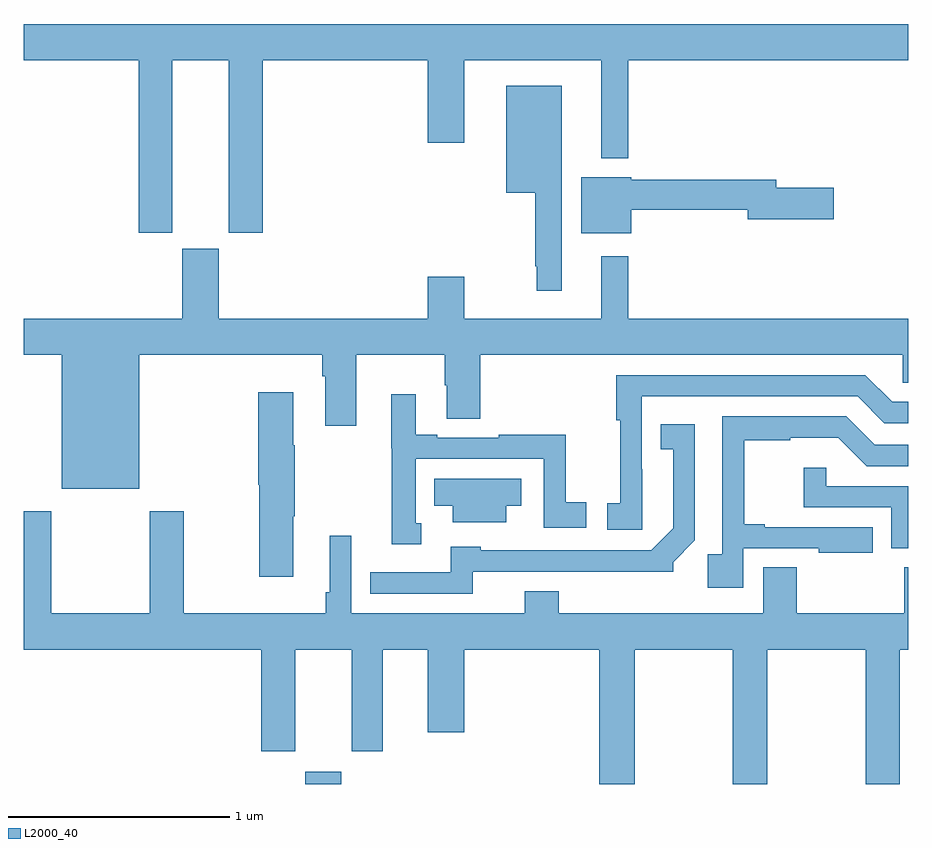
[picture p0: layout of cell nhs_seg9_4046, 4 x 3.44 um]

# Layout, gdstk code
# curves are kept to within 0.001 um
import gdstk
lib = gdstk.Library(unit=1e-6, precision=1e-09)
def R(c, l, rs):  # rectangles x0, y0, x1, y1
    for r in rs: c.add(gdstk.rectangle(r[:2], r[2:], *l))
def P(c, l, *ps):  # polygons
    for p in ps: c.add(gdstk.Polygon(p, *l))
L2000_40 = (2000, 40)

nhs_seg9_4046 = lib.new_cell('nhs_seg9_4046')
R(nhs_seg9_4046, L2000_40, [(344.273,1174.5,344.437,1174.555)])
P(nhs_seg9_4046, L2000_40, [(343.672,1177.772),(343.928,1177.772),(343.928,1176.993),(344.081,1176.993),(344.081,1177.772),(344.828,1177.772),(344.828,1177.398),(344.992,1177.398),(344.992,1177.772),(345.611,1177.772),(345.611,1177.328),(345.733,1177.328),(345.733,1177.772),(347,1177.772),(347,1177.936),(343,1177.936),(343,1177.772),(343.52,1177.772),(343.52,1176.993),(343.672,1176.993)],
  [(345.433,1177.657),(345.182,1177.657),(345.182,1177.172),(345.312,1177.172),(345.312,1176.841),(345.319,1176.841),(345.319,1176.729),(345.433,1176.729)],
  [(345.748,1177.096),(346.274,1177.096),(346.274,1177.054),(346.663,1177.054),(346.663,1177.196),(346.402,1177.196),(346.402,1177.232),(345.748,1177.232),(345.748,1177.243),(345.521,1177.243),(345.521,1176.989),(345.748,1176.989)],
  [(343.882,1176.921),(343.718,1176.921),(343.718,1176.604),(343,1176.604),(343,1176.44),(343.172,1176.44),(343.172,1175.834),(343.522,1175.834),(343.522,1176.44),(344.351,1176.44),(344.351,1176.344),(344.363,1176.344),(344.363,1176.12),(344.503,1176.12),(344.503,1176.44),(344.905,1176.44),(344.905,1176.302),(344.912,1176.302),(344.912,1176.151),(345.065,1176.151),(345.065,1176.44),(346.974,1176.44),(346.974,1176.313),(347,1176.313),(347,1176.604),(345.733,1176.604),(345.733,1176.886),(345.611,1176.886),(345.611,1176.604),(344.992,1176.604),(344.992,1176.793),(344.828,1176.793),(344.828,1176.604),(343.882,1176.604)],
  [(345.796,1175.924),(345.795,1176.252),(346.77,1176.252),(346.89,1176.132),(347,1176.132),(347,1176.228),(346.926,1176.228),(346.806,1176.348),(345.679,1176.348),(345.679,1176.145),(345.697,1176.145),(345.697,1175.769),(345.639,1175.769),(345.639,1175.649),(345.796,1175.649)],
  [(344.218,1175.71),(344.226,1175.71),(344.226,1176.032),(344.218,1176.032),(344.218,1176.271),(344.06,1176.271),(344.06,1175.853),(344.065,1175.853),(344.065,1175.436),(344.218,1175.436)],
  [(344.797,1175.679),(344.772,1175.679),(344.772,1175.97),(345.351,1175.97),(345.351,1175.658),(345.544,1175.658),(345.544,1175.774),(345.45,1175.774),(345.45,1176.079),(345.148,1176.079),(345.148,1176.066),(344.869,1176.066),(344.869,1176.079),(344.773,1176.079),(344.773,1176.262),(344.663,1176.262),(344.663,1176.017),(344.664,1176.017),(344.664,1175.585),(344.797,1175.585)],
  [(346.254,1175.565),(346.595,1175.565),(346.595,1175.546),(346.838,1175.546),(346.838,1175.661),(346.351,1175.661),(346.351,1175.674),(346.259,1175.674),(346.259,1176.054),(346.466,1176.054),(346.466,1176.065),(346.684,1176.065),(346.812,1175.937),(347,1175.937),(347,1176.033),(346.848,1176.033),(346.719,1176.162),(346.158,1176.162),(346.158,1175.539),(346.093,1175.539),(346.093,1175.388),(346.254,1175.388)],
  [(345.03,1175.46),(345.936,1175.459),(345.936,1175.503),(346.035,1175.602),(346.035,1176.127),(345.88,1176.127),(345.88,1176.014),(345.938,1176.014),(345.938,1175.657),(345.837,1175.556),(345.066,1175.556),(345.066,1175.572),(344.93,1175.572),(344.93,1175.457),(344.566,1175.457),(344.566,1175.361),(345.03,1175.361)],
  [(347,1175.847),(346.629,1175.847),(346.629,1175.929),(346.528,1175.929),(346.528,1175.751),(346.923,1175.751),(346.923,1175.565),(347,1175.565)],
  [(345.181,1175.759),(345.25,1175.759),(345.25,1175.881),(344.857,1175.881),(344.857,1175.759),(344.939,1175.759),(344.939,1175.684),(345.181,1175.684)],
  [(345.762,1175.108),(346.207,1175.108),(346.207,1174.5),(346.362,1174.5),(346.362,1175.108),(346.807,1175.108),(346.807,1174.5),(346.962,1174.5),(346.962,1175.108),(347,1175.108),(347,1175.48),(346.982,1175.48),(346.982,1175.272),(346.496,1175.272),(346.496,1175.48),(346.343,1175.48),(346.343,1175.272),(345.419,1175.272),(345.419,1175.371),(345.266,1175.371),(345.266,1175.272),(344.481,1175.272),(344.481,1175.623),(344.384,1175.623),(344.384,1175.368),(344.365,1175.368),(344.365,1175.272),(343.725,1175.272),(343.725,1175.734),(343.57,1175.734),(343.57,1175.272),(343.125,1175.272),(343.125,1175.734),(343,1175.734),(343,1175.108),(344.075,1175.108),(344.075,1174.647),(344.227,1174.647),(344.227,1175.108),(344.483,1175.108),(344.483,1174.647),(344.623,1174.647),(344.623,1175.108),(344.828,1175.108),(344.828,1174.734),(344.992,1174.734),(344.992,1175.108),(345.602,1175.108),(345.602,1174.5),(345.762,1174.5)])

lib.write_gds('nhs_seg9_4046.gds')
